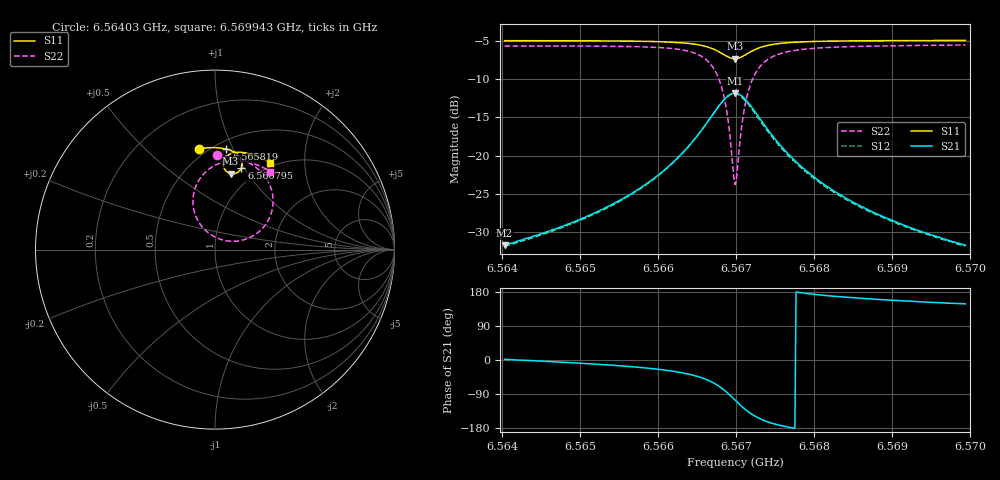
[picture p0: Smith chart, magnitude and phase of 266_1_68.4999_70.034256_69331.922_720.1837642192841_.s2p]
#  HZ  S  RI  R  50.00
! Rohde & Schwarz Vector Network Analyzer
! Rohde-Schwarz,ZNB20-2Port,1311601062101988,3.16
! Created: UTC 3/20/2024, 5:00:33 PM
! freq[Hz]  re:S11  im:S11  re:S21  im:S21  re:S12  im:S12  re:S22  im:S22
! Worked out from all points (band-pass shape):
!   401 points, 6.56403 GHz to 6.569943 GHz, reference 50 ohm
!   highest |S21| = -11.80 dB at 6.566987 GHz (marker M1); lowest = -31.8 dB at 6.56403 GHz (marker M2)
!   |S21| within 3 dB of the highest: 6.566689 GHz to 6.567282 GHz (593 kHz wide, 0.00903 % of centre)
!   lowest |S11| = -7.3 dB at 6.566987 GHz (marker M3), VSWR 2.52, Z = 40.1 + j41.8 ohm
!   |S11| at or under -10 dB: nowhere
!   |S22| runs from -23.8 to -5.5 dB; largest |S21 - S12| = 0.012
!   S11 on the Smith chart (normalised r, x): 6.56403 GHz: 0.45, +0.75; 6.565819 GHz: 0.57, +0.94; 6.566795 GHz: 0.83, +0.97; 6.569943 GHz: 0.94, +1.35
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6.5640301e9  -0.0875 0.5622  0.0257 0.000777  0.0253 0.000356  0.0106 0.5247
6.5650206e9  -0.00791 0.568  0.0381 -0.00577  0.0374 -0.00637  0.1005 0.5152
6.5658189e9  0.0634 0.5599  0.0593 -0.0224  0.0585 -0.023  0.1945 0.4809
6.566011e9  0.0826 0.5545  0.0682 -0.0314  0.0672 -0.0322  0.2233 0.4621
6.5663215e9  0.1165 0.5379  0.0869 -0.0592  0.0854 -0.0603  0.2787 0.4072
6.566558e9  0.1427 0.5103  0.1005 -0.107  0.0982 -0.109  0.3193 0.3149
6.5666911e9  0.1516 0.4825  0.096 -0.1555  0.0923 -0.1581  0.3185 0.2223
6.5667945e9  0.1467 0.4538  0.0701 -0.2046  0.0638 -0.2073  0.2741 0.1298
6.5668389e9  0.1388 0.4413  0.0483 -0.2254  0.0405 -0.2274  0.2349 0.0916
6.5668832e9  0.1268 0.4307  0.0189 -0.2424  0.00963 -0.2428  0.1819 0.0619
6.5669572e9  0.0991 0.4225  -0.0429 -0.2522  -0.0531 -0.2486  0.0714 0.0481
6.5669867e9  0.0871 0.4237  -0.0689 -0.2476  -0.0788 -0.2422  0.0263 0.0588
6.5670163e9  0.0756 0.4277  -0.0934 -0.238  -0.1026 -0.2308  -0.0156 0.0786
6.5670754e9  0.0575 0.4425  -0.1332 -0.2066  -0.1396 -0.1973  -0.0803 0.1381
6.5671198e9  0.0494 0.4568  -0.1523 -0.1776  -0.1563 -0.1677  -0.1087 0.191
6.5671789e9  0.046 0.4763  -0.1645 -0.1389  -0.1657 -0.1294  -0.1227 0.2598
6.5672676e9  0.0518 0.501  -0.1627 -0.0906  -0.1614 -0.0828  -0.1102 0.3434
6.5675337e9  0.0913 0.5358  -0.121 -0.0192  -0.1183 -0.016  -0.0153 0.4609
6.5679772e9  0.1477 0.5421  -0.0732 0.00789  -0.0716 0.00901  0.0985 0.4961
6.5684207e9  0.1907 0.534  -0.0504 0.0129  -0.0492 0.0136  0.1671 0.4919
6.5689676e9  0.2358 0.5185  -0.0354 0.0142  -0.0346 0.0144  0.2272 0.475
6.5699433e9  0.3059 0.4821  -0.0218 0.0136  -0.0214 0.0137  0.3077 0.4351
